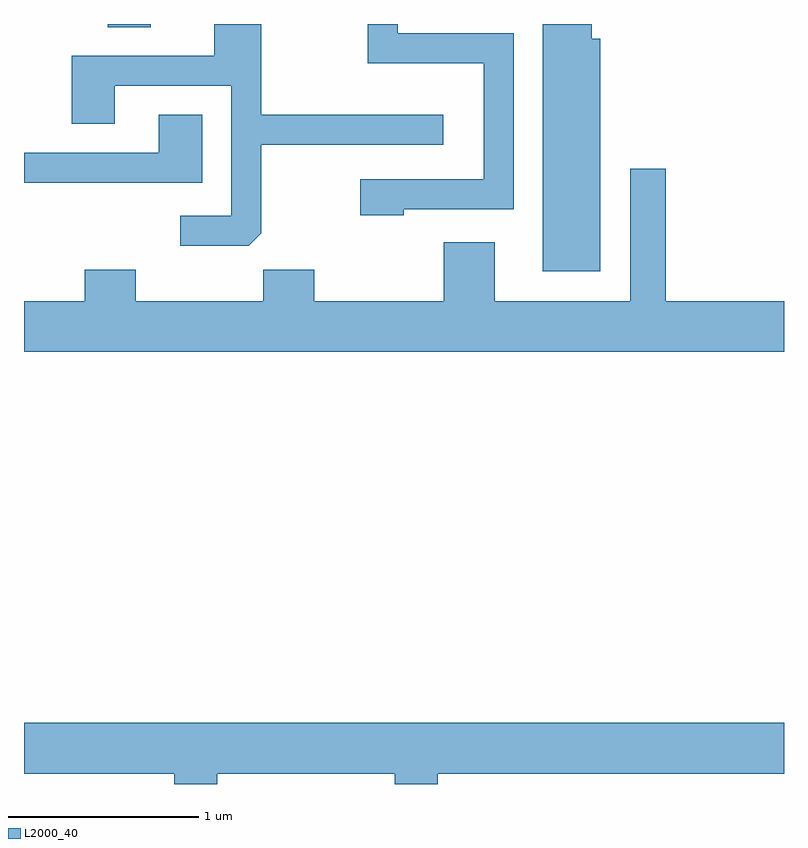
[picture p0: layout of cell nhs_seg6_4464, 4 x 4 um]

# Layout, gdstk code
import gdstk
lib = gdstk.Library(unit=1e-6, precision=1e-09)
def R(c, l, rs):  # rectangles x0, y0, x1, y1
    for r in rs: c.add(gdstk.rectangle(r[:2], r[2:], *l))
def P(c, l, *ps):  # polygons
    for p in ps: c.add(gdstk.Polygon(p, *l))
L2000_40 = (2000, 40)

nhs_seg6_4464 = lib.new_cell('nhs_seg6_4464')
R(nhs_seg6_4464, L2000_40, [(322.051,1596.146,322.279,1596.162)])
P(nhs_seg6_4464, L2000_40, [(324.644,1596.084),(324.599,1596.084),(324.599,1596.162),(324.341,1596.162),(324.341,1594.861),(324.644,1594.861)],
  [(323.609,1595.186),(324.189,1595.186),(324.189,1596.114),(323.579,1596.114),(323.579,1596.162),(323.421,1596.162),(323.421,1595.956),(324.031,1595.956),(324.031,1595.344),(323.381,1595.344),(323.381,1595.156),(323.609,1595.156)],
  [(322.859,1595.062),(322.859,1595.526),(323.818,1595.526),(323.818,1595.684),(322.859,1595.684),(322.859,1596.162),(322.611,1596.162),(322.611,1595.994),(321.861,1595.994),(321.861,1595.636),(322.089,1595.636),(322.089,1595.836),(322.701,1595.836),(322.701,1595.154),(322.433,1595.154),(322.433,1594.996),(322.794,1594.996)],
  [(322.549,1595.684),(322.321,1595.684),(322.321,1595.484),(321.611,1595.484),(321.611,1595.326),(322.549,1595.326)],
  [(325.611,1594.704),(324.989,1594.704),(324.989,1595.399),(324.801,1595.399),(324.801,1594.704),(324.089,1594.704),(324.089,1595.014),(323.821,1595.014),(323.821,1594.704),(323.139,1594.704),(323.139,1594.869),(322.871,1594.869),(322.871,1594.704),(322.199,1594.704),(322.199,1594.869),(321.931,1594.869),(321.931,1594.704),(321.611,1594.704),(321.611,1594.436),(325.611,1594.436)],
  [(322.629,1592.216),(323.561,1592.216),(323.561,1592.162),(323.789,1592.162),(323.789,1592.216),(325.611,1592.216),(325.611,1592.484),(321.611,1592.484),(321.611,1592.216),(322.401,1592.216),(322.401,1592.162),(322.629,1592.162)])

lib.write_gds('nhs_seg6_4464.gds')
